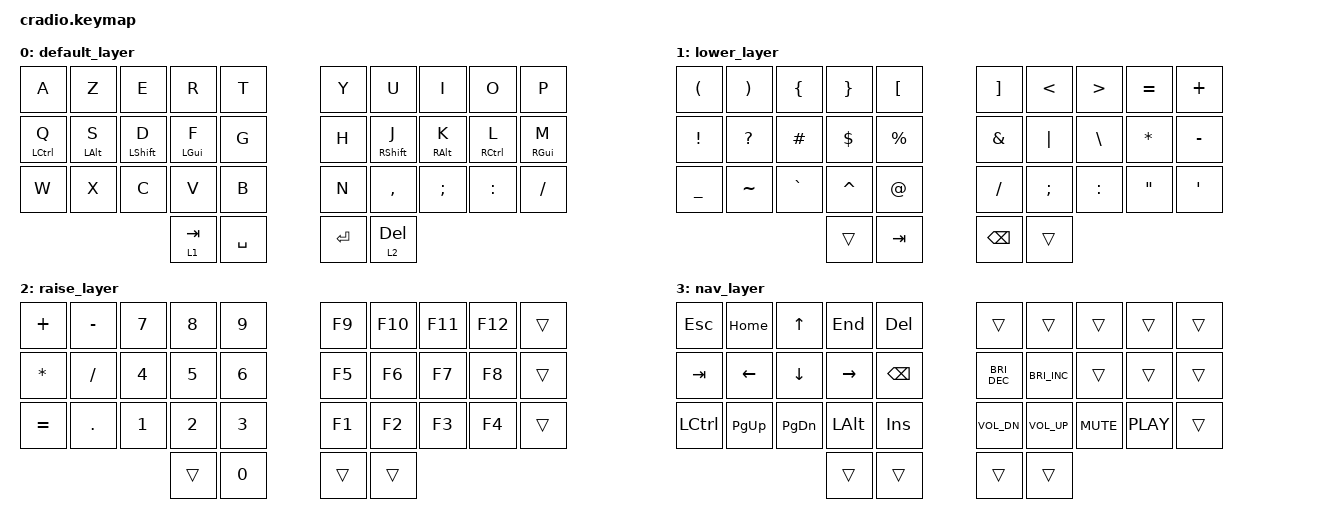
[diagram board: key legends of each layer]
/*
 * Copyright (c) 2020 The ZMK Contributors
 * SPDX-License-Identifier: MIT
 */

#include <behaviors.dtsi>
#include <dt-bindings/zmk/keys.h>

&mt { flavor = "tap-preferred"; };

/ {
    combos {
        compatible = "zmk,combos";

        escape_combo {
            bindings = <&kp ESCAPE>;
            key-positions = <0 1>;
        };

        tab_combo {
            bindings = <&kp TAB>;
            key-positions = <10 11>;
        };

        enter_combo {
            bindings = <&kp ENTER>;
            key-positions = <15 16>;
        };

        backspace_combo {
            bindings = <&kp BACKSPACE>;
            key-positions = <7 8>;
        };

        delete_combo {
            bindings = <&kp DELETE>;
            key-positions = <8 9>;
        };
    };

    keymap {
        compatible = "zmk,keymap";

        default_layer {
            bindings = <
&kp A        &kp Z       &kp E         &kp R       &kp T        &kp Y    &kp U         &kp I          &kp O        &kp P
&mt LCTRL Q  &mt LALT S  &mt LSHIFT D  &mt LGUI F  &kp G        &kp H    &mt RSHIFT J  &mt RALT K     &mt RCTRL L  &mt RGUI M
&kp W        &kp X       &kp C         &kp V       &kp B        &kp N    &kp COMMA     &kp SEMICOLON  &kp COLON    &kp SLASH
                                       &lt 1 TAB   &kp SPACE    &kp RET  &lt 2 DELETE
            >;
        };

        lower_layer {
            bindings = <
&kp LEFT_PARENTHESIS  &kp RIGHT_PARENTHESIS  &kp LEFT_BRACE  &kp RIGHT_BRACE  &kp LEFT_BRACKET    &kp RIGHT_BRACKET  &kp LESS_THAN  &kp GREATER_THAN  &kp EQUAL          &kp PLUS
&kp EXCLAMATION       &kp QUESTION           &kp HASH        &kp DOLLAR       &kp PERCENT         &kp AMPERSAND      &kp PIPE       &kp BACKSLASH     &kp ASTERISK       &kp MINUS
&kp UNDERSCORE        &kp TILDE              &kp GRAVE       &kp CARET        &kp AT_SIGN         &kp SLASH          &kp SEMICOLON  &kp COLON         &kp DOUBLE_QUOTES  &kp SQT
                                                             &trans           &kp TAB             &kp BACKSPACE      &trans
            >;
        };

        raise_layer {
            bindings = <
&kp PLUS      &kp MINUS   &kp N7        &kp N8        &kp N9          &kp F9  &kp F10  &kp F11  &kp F12  &trans
&kp ASTERISK  &kp SLASH   &kp NUMBER_4  &kp N5        &kp NUMBER_6    &kp F5  &kp F6   &kp F7   &kp F8   &trans
&kp EQUAL     &kp PERIOD  &kp NUMBER_1  &kp NUMBER_2  &kp NUMBER_3    &kp F1  &kp F2   &kp F3   &kp F4   &trans
                                        &trans        &kp N0          &trans  &trans
            >;
        };

        nav_layer {
            bindings = <
&kp ESCAPE  &kp HOME   &kp UP_ARROW  &kp END       &kp DELETE    &trans                &trans                &trans      &trans      &trans
&kp TAB     &kp LEFT   &kp DOWN      &kp RIGHT     &kp BSPC      &kp C_BRIGHTNESS_DEC  &kp C_BRIGHTNESS_INC  &trans      &trans      &trans
&kp LCTRL   &kp PG_UP  &kp PG_DN     &kp LEFT_ALT  &kp INS       &kp C_VOL_DN          &kp C_VOLUME_UP       &kp C_MUTE  &kp C_PLAY  &trans
                                     &trans        &trans        &trans                &trans
            >;
        };
    };

    conditional_layers {
        compatible = "zmk,conditional-layers";

        nav_layer {
            if-layers = <1 2>;
            then-layer = <3>;
        };
    };
};
